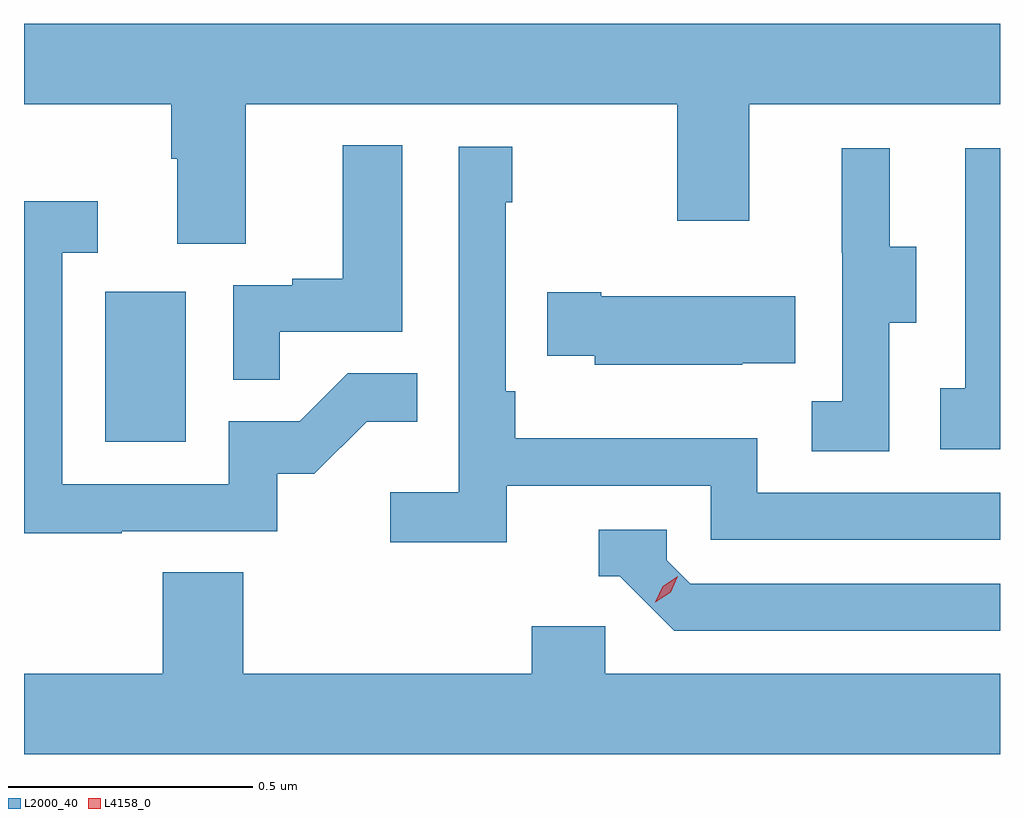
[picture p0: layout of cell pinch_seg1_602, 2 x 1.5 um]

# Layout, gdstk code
import gdstk
lib = gdstk.Library(unit=1e-6, precision=1e-09)
def R(c, l, rs):  # rectangles x0, y0, x1, y1
    for r in rs: c.add(gdstk.rectangle(r[:2], r[2:], *l))
def P(c, l, *ps):  # polygons
    for p in ps: c.add(gdstk.Polygon(p, *l))
L2000_40 = (2000, 40)
L4158_0 = (4158, 0)

pinch_seg1_602 = lib.new_cell('pinch_seg1_602')
R(pinch_seg1_602, L2000_40, [(1045.994,504.42,1046.158,504.727)])
P(pinch_seg1_602, L2000_40, [(1046.281,505.112),(1047.166,505.112),(1047.166,504.873),(1047.313,504.873),(1047.313,505.112),(1047.827,505.112),(1047.827,505.276),(1045.827,505.276),(1045.827,505.112),(1046.129,505.112),(1046.129,505),(1046.141,505),(1046.141,504.826),(1046.281,504.826)],
  [(1046.351,504.645),(1046.602,504.645),(1046.602,505.027),(1046.48,505.027),(1046.48,504.754),(1046.377,504.754),(1046.377,504.741),(1046.256,504.741),(1046.256,504.547),(1046.351,504.547)],
  [(1046.816,504.33),(1047.234,504.33),(1047.234,504.219),(1047.827,504.219),(1047.827,504.315),(1047.33,504.315),(1047.33,504.427),(1046.834,504.427),(1046.834,504.523),(1046.814,504.523),(1046.814,504.911),(1046.827,504.911),(1046.827,505.024),(1046.718,505.024),(1046.718,504.316),(1046.577,504.316),(1046.577,504.214),(1046.816,504.214)],
  [(1047.827,505.021),(1047.756,505.021),(1047.756,504.53),(1047.705,504.53),(1047.705,504.405),(1047.827,504.405)],
  [(1047.6,504.664),(1047.655,504.664),(1047.655,504.819),(1047.601,504.819),(1047.601,505.021),(1047.503,505.021),(1047.503,504.807),(1047.504,504.807),(1047.504,504.503),(1047.441,504.503),(1047.441,504.4),(1047.6,504.4)],
  [(1046.027,504.237),(1046.346,504.237),(1046.346,504.354),(1046.422,504.354),(1046.529,504.461),(1046.633,504.461),(1046.633,504.56),(1046.49,504.56),(1046.392,504.462),(1046.247,504.462),(1046.247,504.333),(1045.905,504.333),(1045.905,504.807),(1045.978,504.807),(1045.978,504.913),(1045.827,504.913),(1045.827,504.232),(1046.027,504.232)],
  [(1047.299,504.581),(1047.407,504.581),(1047.407,504.718),(1047.01,504.718),(1047.01,504.726),(1046.899,504.726),(1046.899,504.596),(1046.997,504.596),(1046.997,504.578),(1047.299,504.578)],
  [(1047.827,504.129),(1047.192,504.129),(1047.144,504.177),(1047.144,504.24),(1047.005,504.24),(1047.005,504.144),(1047.048,504.144),(1047.159,504.033),(1047.827,504.033)],
  [(1047.827,503.944),(1047.018,503.944),(1047.018,504.042),(1046.867,504.042),(1046.867,503.944),(1046.276,503.944),(1046.276,504.152),(1046.111,504.152),(1046.111,503.944),(1045.827,503.944),(1045.827,503.78),(1047.827,503.78)])
P(pinch_seg1_602, L4158_0, [(1047.121,504.091),(1047.121,504.091),(1047.136,504.124),(1047.167,504.144),(1047.167,504.144),(1047.167,504.144),(1047.152,504.111),(1047.121,504.091)])

lib.write_gds('pinch_seg1_602.gds')
